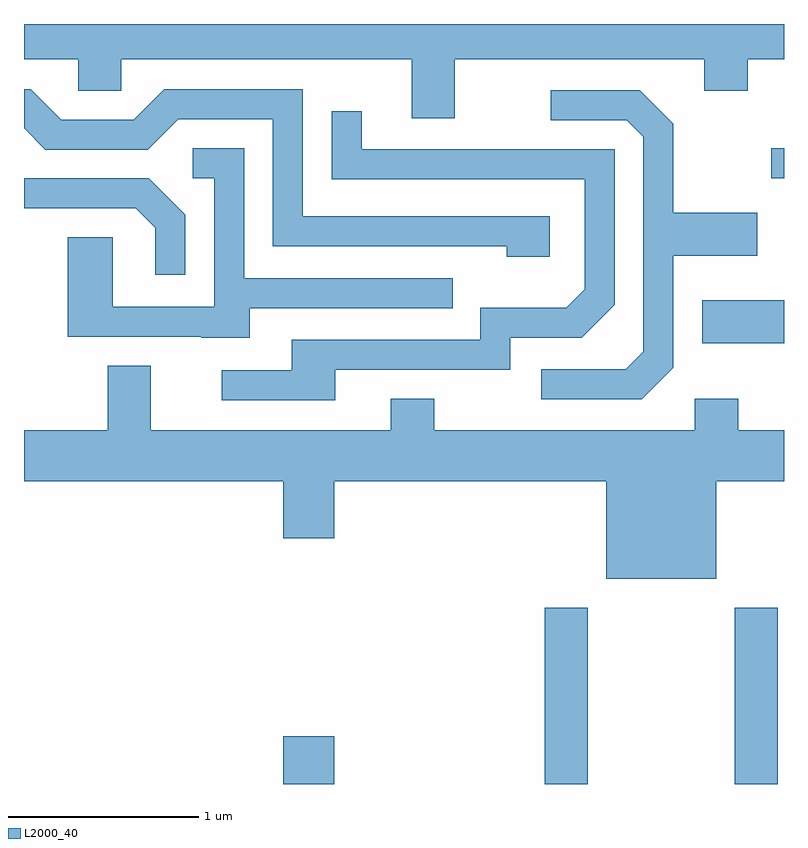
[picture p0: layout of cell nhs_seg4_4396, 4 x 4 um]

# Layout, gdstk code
import gdstk
lib = gdstk.Library(unit=1e-6, precision=1e-09)
def R(c, l, rs):  # rectangles x0, y0, x1, y1
    for r in rs: c.add(gdstk.rectangle(r[:2], r[2:], *l))
def P(c, l, *ps):  # polygons
    for p in ps: c.add(gdstk.Polygon(p, *l))
L2000_40 = (2000, 40)

nhs_seg4_4396 = lib.new_cell('nhs_seg4_4396')
R(nhs_seg4_4396, L2000_40, [(314.976,1341.982,315.244,1342.234), (316.351,1341.982,316.579,1342.909), (317.351,1341.982,317.579,1342.909), (317.181,1344.301,317.611,1344.529), (317.543,1345.171,317.611,1345.329)])
P(nhs_seg4_4396, L2000_40, [(315.879,1345.796),(317.191,1345.796),(317.191,1345.631),(317.419,1345.631),(317.419,1345.796),(317.611,1345.796),(317.611,1345.982),(313.611,1345.982),(313.611,1345.796),(313.896,1345.796),(313.896,1345.631),(314.124,1345.631),(314.124,1345.796),(315.651,1345.796),(315.651,1345.486),(315.879,1345.486)],
  [(316.379,1344.969),(315.079,1344.969),(315.079,1345.639),(314.349,1345.639),(314.189,1345.479),(313.807,1345.479),(313.647,1345.639),(313.611,1345.639),(313.611,1345.434),(313.724,1345.321),(314.262,1345.321),(314.422,1345.481),(314.921,1345.481),(314.921,1344.811),(316.151,1344.811),(316.151,1344.756),(316.379,1344.756)],
  [(317.029,1344.174),(317.029,1344.761),(317.469,1344.761),(317.469,1344.989),(317.029,1344.989),(317.029,1345.457),(316.852,1345.634),(316.383,1345.634),(316.383,1345.476),(316.784,1345.476),(316.871,1345.389),(316.871,1344.257),(316.779,1344.164),(316.333,1344.164),(316.333,1344.006),(316.862,1344.006)],
  [(315.249,1344.161),(316.169,1344.161),(316.169,1344.331),(316.547,1344.331),(316.719,1344.504),(316.719,1345.324),(315.389,1345.324),(315.389,1345.523),(315.231,1345.523),(315.231,1345.166),(316.561,1345.166),(316.561,1344.587),(316.464,1344.489),(316.011,1344.489),(316.011,1344.319),(315.021,1344.319),(315.021,1344.159),(314.653,1344.159),(314.653,1344.001),(315.249,1344.001)],
  [(314.799,1344.486),(315.868,1344.486),(315.868,1344.644),(314.769,1344.644),(314.769,1345.329),(314.498,1345.329),(314.498,1345.171),(314.611,1345.171),(314.611,1344.494),(314.079,1344.494),(314.079,1344.859),(313.841,1344.859),(313.841,1344.336),(314.545,1344.336),(314.545,1344.331),(314.799,1344.331)],
  [(314.459,1344.977),(314.267,1345.169),(313.611,1345.169),(313.611,1345.011),(314.199,1345.011),(314.301,1344.909),(314.301,1344.663),(314.459,1344.663)],
  [(317.254,1343.576),(317.611,1343.576),(317.611,1343.844),(317.369,1343.844),(317.369,1344.009),(317.141,1344.009),(317.141,1343.844),(315.769,1343.844),(315.769,1344.009),(315.541,1344.009),(315.541,1343.844),(314.279,1343.844),(314.279,1344.184),(314.051,1344.184),(314.051,1343.844),(313.611,1343.844),(313.611,1343.576),(314.976,1343.576),(314.976,1343.276),(315.244,1343.276),(315.244,1343.576),(316.676,1343.576),(316.676,1343.061),(317.254,1343.061)])

lib.write_gds('nhs_seg4_4396.gds')
